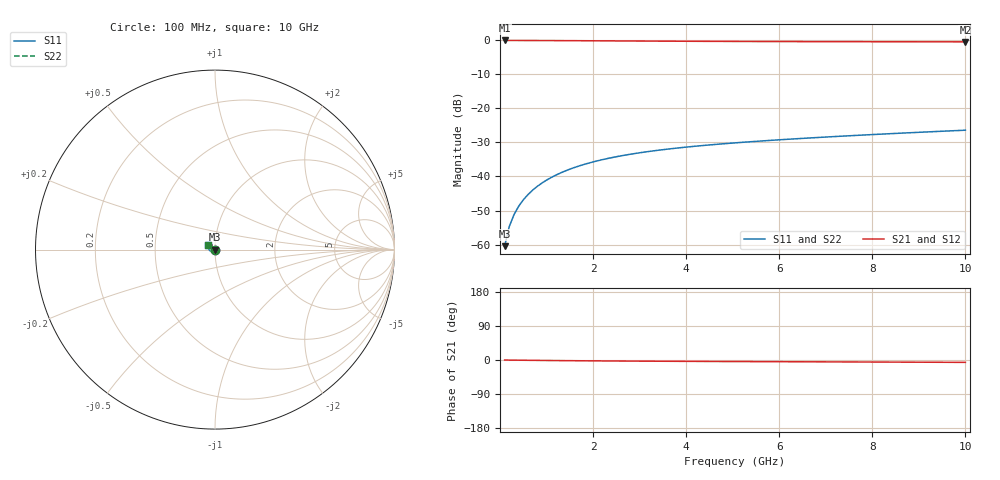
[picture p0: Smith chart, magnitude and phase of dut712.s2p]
! Touchstone file exported from HFSS 2024.1.0
!  File:  C:/UserFiles/LocalFiles/RDL_TSV_Batchsim/temp_TSV1_712_1779867522.aedt
!  Generated:  03:45:41 PM May 27, 2026
!  Design:  TSV1
!  Project:  temp_TSV1_712_1779867522
!  Setup:  Setup1
!  Solution:  Sweep
! Variables:
!  dtsv = 7.38um
!  hbump = 3um
!  htsv = 94.03um
!  lrdl = 252.1521522um
!  p = 40
!  p1 = 57.13um
!  t = 500um
!  trdl = 3um
!  wrdl = 24.89489489um
# GHz S MA R 50.000000
! Terminal data exported
! Port[1] = TSV22_T1
! Port[2] = TSV22_T2
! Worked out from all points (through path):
!   100 points, 100 MHz to 10 GHz, reference 50 ohm
!   highest |S21| = 0.00 dB at 100 MHz (marker M1); lowest = -0.4 dB at 10 GHz (marker M2)
!   lowest |S11| = -60.5 dB at 100 MHz (marker M3), VSWR 1.00, Z = 50 - j0.091 ohm
!   |S11| at or under -10 dB: start of sweep to end of sweep
!   |S22| runs from -60.5 to -26.4 dB; largest |S21 - S12| = 1.5e-14
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0.1  0.0009455 -74.3  0.9997 -0.1  0.9997 -0.1  0.0009455 -74.3
! Gamma 0 0 0 0
! Port Impedance 50 0 50 0
0.2  0.001835 -85.3  0.9995 -0.3  0.9995 -0.3  0.001835 -85.3
0.3  0.002733 -90.5  0.9994 -0.4  0.9994 -0.4  0.002733 -90.5
0.4  0.00363 -94.3  0.9991 -0.5  0.9991 -0.5  0.00363 -94.3
0.5  0.00452 -97.5  0.9988 -0.6  0.9988 -0.6  0.00452 -97.5
0.6  0.005404 -100.3  0.9984 -0.8  0.9984 -0.8  0.005404 -100.3
0.7  0.006278 -102.9  0.9979 -0.9  0.9979 -0.9  0.006278 -102.9
0.8  0.007142 -105.4  0.9974 -1.0  0.9974 -1.0  0.007142 -105.4
0.9  0.007993 -107.8  0.9969 -1.1  0.9969 -1.1  0.007993 -107.8
1.1  0.009657 -112.5  0.9956 -1.4  0.9956 -1.4  0.009657 -112.5
1.4  0.01204 -119.0  0.9935 -1.7  0.9935 -1.7  0.01204 -119.0
1.6  0.01355 -123.2  0.9919 -1.9  0.9919 -1.9  0.01355 -123.2
1.8  0.01499 -127.2  0.9902 -2.1  0.9902 -2.1  0.01499 -127.2
2.1  0.01703 -133.0  0.9876 -2.3  0.9876 -2.3  0.01703 -133.0
2.5  0.01952 -140.1  0.9842 -2.7  0.9842 -2.7  0.01952 -140.1
2.9  0.02177 -146.8  0.9809 -2.9  0.9809 -2.9  0.02177 -146.8
3.4  0.02431 -154.4  0.977 -3.2  0.977 -3.2  0.02431 -154.4
4.2  0.02787 -165.1  0.9717 -3.7  0.9717 -3.7  0.02787 -165.1
5.1  0.03139 -175.5  0.9669 -4.1  0.9669 -4.1  0.03139 -175.5
6.7  0.037 169.6  0.9609 -4.8  0.9609 -4.8  0.03699 169.6
8.4  0.04264 157.2  0.9566 -5.5  0.9566 -5.5  0.04264 157.2
10  0.04792 147.9  0.9538 -6.2  0.9538 -6.2  0.04792 147.9
